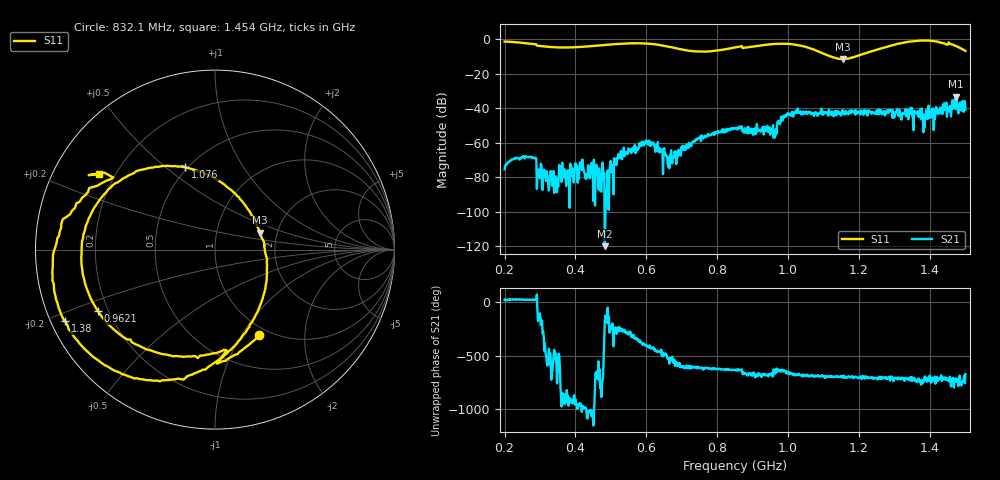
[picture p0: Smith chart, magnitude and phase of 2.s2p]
! NanoVNA-App
! Date: 2024-06-25 16:48:12
! Start: 200MHz Stop: 1.5GHz Points: 801
! S-Parameter data: F S11 S21 S12 S22
# Hz S RI R 50
!  Frequency  S11_Real  S11_Imag  S21_Real  S21_Imag  S12_Real  S12_Imag  S22_Real  S22_Imag
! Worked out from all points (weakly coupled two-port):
!   801 points, 200 MHz to 1.5 GHz, reference 50 ohm
!   highest |S21| = -33.21 dB at 1.474 GHz (marker M1); lowest = -119.9 dB at 482.8 MHz (marker M2)
!   lowest |S11| = -11.5 dB at 1.154 GHz (marker M3), VSWR 1.73, Z = 81.3 + j16.5 ohm
!   |S11| at or under -10 dB: 1.121 GHz to 1.189 GHz (68.48 MHz wide, 5.93 % of centre)
!   S12 and S22 are empty: the file has one direction only
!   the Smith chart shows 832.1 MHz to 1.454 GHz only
!   S11 on the Smith chart (normalised r, x): 832.1 MHz: 0.89, -1.20; 962.1 MHz: 0.16, -0.24; 1.076 GHz: 0.49, +0.58; 1.38 GHz: 0.04, -0.23; 1.454 GHz: 0.14, +0.29
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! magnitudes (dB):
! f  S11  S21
! 200 MHz  -1.3  -75.4
! 274.8 MHz  -2.6  -68.1
! 297.5 MHz  -3.8  -77.0
! 346.2 MHz  -4.6  -85.9
! 417.8 MHz  -4.3  -75.7
! 482.8 MHz  -3.3  -119.9
! 593.2 MHz  -2.4  -59.5
! 633.9 MHz  -3.1  -64.9
! 666.4 MHz  -4.4  -67.3
! 746 MHz  -7.1  -57.4
! 832.1 MHz  -5.4  -52.0
! 850 MHz  -4.7  -51.7
! 962.1 MHz  -2.7  -56.9
! 993 MHz  -2.6  -44.9
! 1.068 GHz  -5.6  -43.1
! 1.076 GHz  -6.2  -42.8
! 1.154 GHz  -11.5  -40.9
! 1.284 GHz  -4.0  -42.1
! 1.38 GHz  -0.7  -43.3
! 1.454 GHz  -2.2  -41.5
! 1.474 GHz  -3.9  -33.2
! 1.5 GHz  -6.7  -40.8
